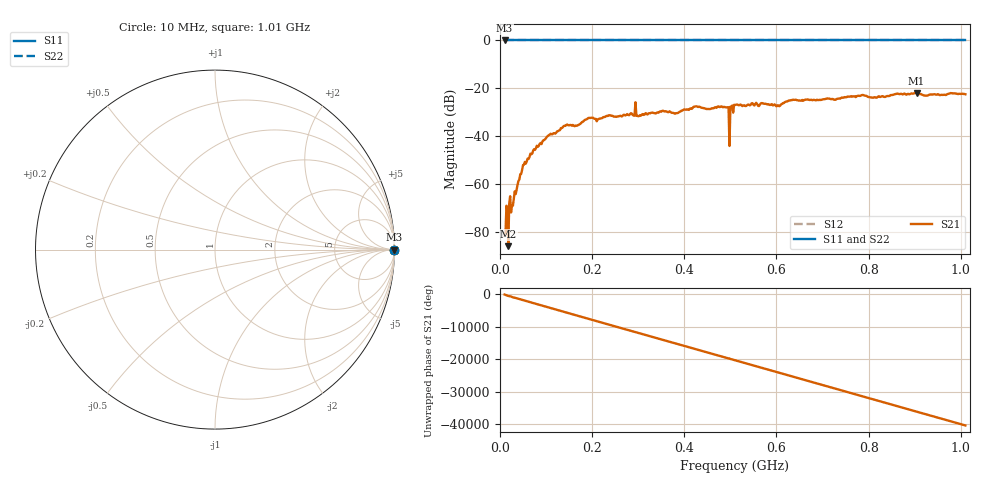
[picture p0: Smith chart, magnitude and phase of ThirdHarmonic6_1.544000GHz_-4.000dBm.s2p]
! 8/16/2025 6:18:44 PM
! C:\ANRITSUVNA\TEMP\TEMP.S2P
! CHANNEL.1
! TR.MEASUREMENT
! RAW.DATA
! RF.CORRECTION.OFF
! AVERAGING.OFF
! IF.BANDWIDTH: 5KHZ
! SWEEPTYPE:  FREQ.SWEEP(Linear)
! Reference Plane Port Info
! PORT:  PORT1  PORT2
! DISTANCE:  0  m  0  m
! TIME:  0  s  0  s
! PHASE.OFFSET:  0  deg.  0  deg.
! LOSS:  0  dB  0  dB
! REF.LOSS:  0  dB  0  dB
! REF.FREQ:  0  Hz  0  Hz
! Power Info
! POWER:  -20  dBm  -20  dBm
! EFF.POWER:  -20  dBm  -20  dBm
! SOURCE.ATTEN:  0  dB  0  dB
! TEST.ATTEN:  0  dB  0  dB
# GHZ S RI R 50.0
! FREQ.GHZ  S11RE  S11IM  S21RE  S21IM  S12RE  S12IM  S22RE  S22IM
!; PortSelection: Port_12
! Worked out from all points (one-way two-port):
!   501 points, 10 MHz to 1.01 GHz, reference 50 ohm
!   highest |S21| = -22.00 dB at 904 MHz (marker M1); lowest = -86.0 dB at 18 MHz (marker M2)
!   lowest |S11| = 0.0 dB at 10 MHz (marker M3)
!   |S11| at or under -10 dB: nowhere
!   |S22| runs from 0.0 to 0.0 dB; largest |S21 - S12| = 1.1
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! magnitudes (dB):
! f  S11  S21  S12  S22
! 10 MHz  0.0  -81.7  0.0  0.0
! 14 MHz  0.0  -69.1  0.0  0.0
! 18 MHz  0.0  -86.0  0.0  0.0
! 22 MHz  0.0  -65.1  0.0  0.0
! 28 MHz  0.0  -69.1  0.0  0.0
! 50 MHz  0.0  -52.1  0.0  0.0
! 76 MHz  0.0  -45.7  0.0  0.0
! 142 MHz  0.0  -35.7  0.0  0.0
! 178 MHz  0.0  -34.1  0.0  0.0
! 196 MHz  0.0  -32.4  0.0  0.0
! 344 MHz  0.0  -30.2  0.0  0.0
! 478 MHz  0.0  -27.8  0.0  0.0
! 492 MHz  0.0  -28.0  0.0  0.0
! 494 MHz  0.0  -28.0  0.0  0.0
! 502 MHz  0.0  -27.6  0.0  0.0
! 504 MHz  0.0  -27.2  0.0  0.0
! 510 MHz  0.0  -27.0  0.0  0.0
! 604 MHz  0.0  -27.2  0.0  0.0
! 678 MHz  0.0  -25.0  0.0  0.0
! 844 MHz  0.0  -23.3  0.0  0.0
! 904 MHz  0.0  -22.0  0.0  0.0
! 1.01 GHz  0.0  -22.5  0.0  0.0
